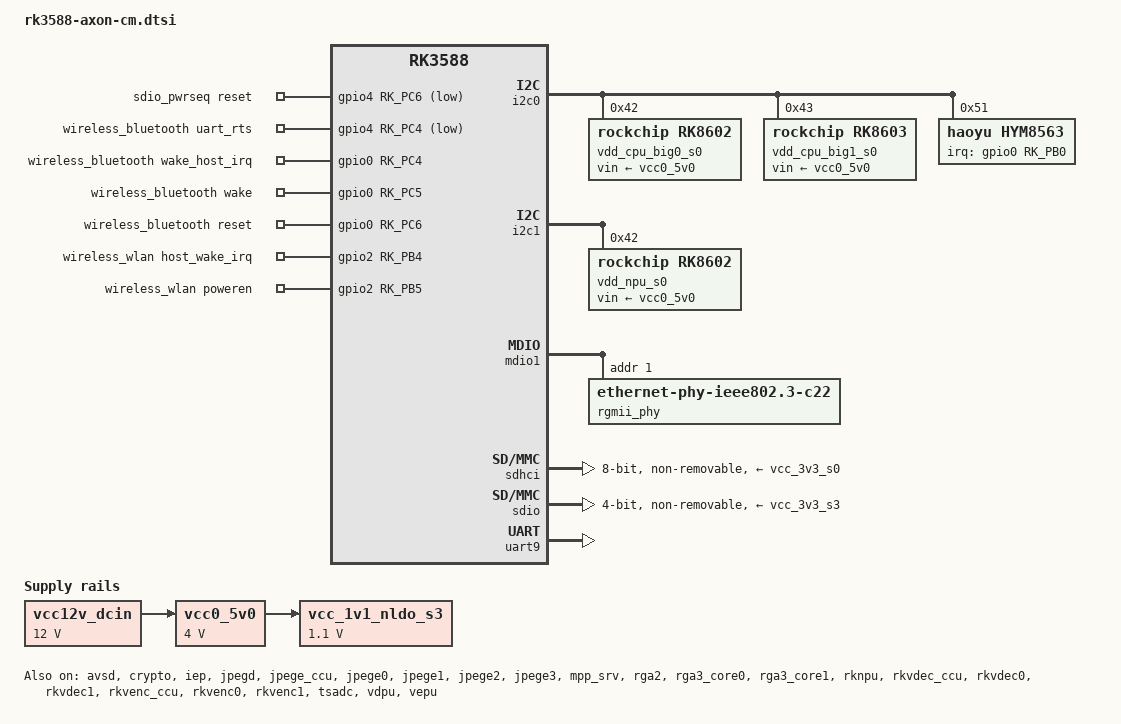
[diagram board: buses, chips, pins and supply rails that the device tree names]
// SPDX-License-Identifier: (GPL-2.0+ OR MIT)
/*
 * Copyright (C) 2026 Vicharak Computers LLP
 */

#include "rk3588.dtsi"
#include "rk3588-axon-cm-rk806-single.dtsi"
#include <dt-bindings/pinctrl/rockchip.h>

/ {
	compatible = "vicharak,rk3588-axon-cm", "rockchip,rk3588";

	aliases {
		mmc1 = &sdhci;
		mmc2 = &sdio;
	};

	sdio_pwrseq: sdio-pwrseq {
		compatible = "mmc-pwrseq-simple";
		clocks = <&hym8563>;
		clock-names = "ext_clock";
		pinctrl-names = "default";
		pinctrl-0 = <&sdio_reset_wifi>;
		reset-gpios = <&gpio4 RK_PC6 GPIO_ACTIVE_LOW>;
		status = "okay";
	};

	vcc12v_dcin: vcc12v-dcin-regulator {
		compatible = "regulator-fixed";
		regulator-name = "vcc12v_dcin";
		regulator-always-on;
		regulator-boot-on;
		regulator-min-microvolt = <12000000>;
		regulator-max-microvolt = <12000000>;
	};

	vcc0_5v0: vcc5v0_sys: vcc0-5v0-regulator {
		compatible = "regulator-fixed";
		regulator-name = "vcc0_5v0";
		regulator-always-on;
		regulator-boot-on;
		regulator-min-microvolt = <4000000>;
		regulator-max-microvolt = <4000000>;
		vin-supply = <&vcc12v_dcin>;
	};

	vcc_1v1_nldo_s3: vcc-1v1-nldo-s3-regulator {
		compatible = "regulator-fixed";
		regulator-name = "vcc_1v1_nldo_s3";
		regulator-always-on;
		regulator-boot-on;
		regulator-min-microvolt = <1100000>;
		regulator-max-microvolt = <1100000>;
		vin-supply = <&vcc0_5v0>;
	};

	wireless_bluetooth: wireless-bluetooth {
		compatible = "bluetooth-platdata";
		clocks = <&hym8563>;
		clock-names = "ext_clock";
		uart_rts_gpios = <&gpio4 RK_PC4 GPIO_ACTIVE_LOW>;
		pinctrl-names = "default", "rts_gpio";
		pinctrl-0 = <&uart9m0_rtsn>, <&bt_reset_gpio>, <&bt_wake_gpio>,
					<&bt_irq_gpio>;
		pinctrl-1 = <&uart9_gpios>;
		BT,wake_host_irq = <&gpio0 RK_PC4 GPIO_ACTIVE_HIGH>;
		BT,wake_gpio     = <&gpio0 RK_PC5 GPIO_ACTIVE_HIGH>;
		BT,reset_gpio    = <&gpio0 RK_PC6 GPIO_ACTIVE_HIGH>;
		status = "okay";
	};

	wireless_wlan: wireless-wlan {
		compatible = "wlan-platdata";
		wifi_chip_type = "rtl8852bs";
		pinctrl-names = "default";
		pinctrl-0 = <&wifi_host_wake_irq>, <&wifi_poweren_gpio>;
		WIFI,host_wake_irq = <&gpio2 RK_PB4 GPIO_ACTIVE_HIGH>;
		WIFI,poweren_gpio = <&gpio2 RK_PB5 GPIO_ACTIVE_HIGH>;
		status = "okay";
	};
};

&av1d_mmu {
	status = "okay";
};

&avsd {
	status = "okay";
};

&cpu_b0 {
	cpu-supply = <&vdd_cpu_big0_s0>;
	mem-supply = <&vdd_cpu_big0_mem_s0>;
};

&cpu_b1 {
	cpu-supply = <&vdd_cpu_big0_s0>;
	mem-supply = <&vdd_cpu_big0_mem_s0>;
};

&cpu_b2 {
	cpu-supply = <&vdd_cpu_big1_s0>;
	mem-supply = <&vdd_cpu_big1_mem_s0>;
};

&cpu_b3 {
	cpu-supply = <&vdd_cpu_big1_s0>;
	mem-supply = <&vdd_cpu_big1_mem_s0>;
};

&cpu_l0 {
	cpu-supply = <&vdd_cpu_lit_s0>;
	mem-supply = <&vdd_cpu_lit_mem_s0>;
};

&cpu_l1 {
	cpu-supply = <&vdd_cpu_lit_s0>;
	mem-supply = <&vdd_cpu_lit_mem_s0>;
};

&cpu_l2 {
	cpu-supply = <&vdd_cpu_lit_s0>;
	mem-supply = <&vdd_cpu_lit_mem_s0>;
};

&cpu_l3 {
	cpu-supply = <&vdd_cpu_lit_s0>;
	mem-supply = <&vdd_cpu_lit_mem_s0>;
};

&crypto {
	status = "okay";
};

&i2c0 {
	pinctrl-names = "default";
	pinctrl-0 = <&i2c0m2_xfer>;
	status = "okay";
	#address-cells = <1>;
	#size-cells = <0>;

	vdd_cpu_big0_s0: vdd_cpu_big0_mem_s0: regulator@42 {
		compatible = "rockchip,rk8602";
		reg = <0x42>;
		regulator-always-on;
		regulator-boot-on;
		regulator-compatible = "rk860x-reg";
		regulator-max-microvolt = <1050000>;
		regulator-min-microvolt = <550000>;
		regulator-name = "vdd_cpu_big0_s0";
		regulator-ramp-delay = <2300>;
		rockchip,suspend-voltage-selector = <1>;
		vin-supply = <&vcc0_5v0>;

		regulator-state-mem {
			regulator-off-in-suspend;
		};
	};

    vdd_cpu_big1_s0: vdd_cpu_big1_mem_s0: regulator@43 {
		compatible = "rockchip,rk8603", "rockchip,rk8602";
		reg = <0x43>;
		regulator-always-on;
		regulator-boot-on;
		regulator-compatible = "rk860x-reg";
		regulator-max-microvolt = <1050000>;
		regulator-min-microvolt = <550000>;
		regulator-name = "vdd_cpu_big1_s0";
		regulator-ramp-delay = <2300>;
		rockchip,suspend-voltage-selector = <1>;
		vin-supply = <&vcc0_5v0>;

		regulator-state-mem {
			regulator-off-in-suspend;
		};
	};

	hym8563: rtc@51 {
		compatible = "haoyu,hym8563";
		reg = <0x51>;
		#clock-cells = <0>;
		clock-output-names = "hym8563";
		interrupt-parent = <&gpio0>;
		interrupts = <RK_PB0 IRQ_TYPE_LEVEL_LOW>;
		pinctrl-names = "default";
		pinctrl-0 = <&rtc_int>;
		wakeup-source;
		status = "okay";
	};
};

&i2c1 {
	status = "okay";
	pinctrl-names = "default";
	pinctrl-0 = <&i2c1m2_xfer>;
	#address-cells = <1>;
	#size-cells = <0>;

	vdd_npu_s0: vdd_npu_mem_s0: regulator@42 {
		compatible = "rockchip,rk8602";
		reg = <0x42>;
		regulator-always-on;
		regulator-boot-on;
		regulator-compatible = "rk860x-reg";
		regulator-max-microvolt = <950000>;
		regulator-min-microvolt = <550000>;
		regulator-name = "vdd_npu_s0";
		regulator-ramp-delay = <2300>;
		rockchip,suspend-voltage-selector = <1>;
		vin-supply = <&vcc0_5v0>;

		regulator-state-mem {
			regulator-off-in-suspend;
		};
	};
};

&iep {
	status = "okay";
};

&iep_mmu {
	status = "okay";
};

&jpegd {
	status = "okay";
};

&jpegd_mmu {
	status = "okay";
};

&jpege_ccu {
	status = "okay";
};

&jpege0 {
	status = "okay";
};

&jpege0_mmu {
	status = "okay";
};

&jpege1 {
	status = "okay";
};

&jpege1_mmu {
	status = "okay";
};

&jpege2 {
	status = "okay";
};

&jpege2_mmu {
	status = "okay";
};

&jpege3 {
	status = "okay";
};

&jpege3_mmu {
	status = "okay";
};

&mdio1 {
	rgmii_phy: phy@1 {
		compatible = "ethernet-phy-ieee802.3-c22";
		reg = <0x1>;
	};
};

&mpp_srv {
	status = "okay";
};

&pinctrl {
	hym8563 {
		rtc_int: rtc-int {
			rockchip,pins =
				<0 RK_PB0 RK_FUNC_GPIO &pcfg_pull_none>;
		};
	};

	wireless-bluetooth {
		uart9_gpios: uart9-gpios {
			rockchip,pins =
				<4 RK_PC4 RK_FUNC_GPIO &pcfg_pull_none>;
		};

		bt_reset_gpio: bt-reset-gpio {
			rockchip,pins =
				<0 RK_PC6 RK_FUNC_GPIO &pcfg_pull_none>;
		};

		bt_wake_gpio: bt-wake-gpio {
			rockchip,pins =
				<0 RK_PC5 RK_FUNC_GPIO &pcfg_pull_none>;
		};

		bt_irq_gpio: bt-irq-gpio {
			rockchip,pins =
				<0 RK_PC4 RK_FUNC_GPIO &pcfg_pull_none>;
		};
	};

	wireless-wlan {
		sdio_reset_wifi: sdio-reset-wifi {
			rockchip,pins =
				<4 RK_PC6 RK_FUNC_GPIO &pcfg_pull_none>;
		};

		wifi_host_wake_irq: wifi-host-wake-irq {
			rockchip,pins =
				<2 RK_PB4 RK_FUNC_GPIO &pcfg_pull_none>;
		};

		wifi_poweren_gpio: wifi-poweren-gpio {
			rockchip,pins =
				<2 RK_PB5 RK_FUNC_GPIO &pcfg_pull_none>;
		};
	};
};

&rga2 {
	status = "okay";
};

&rga3_core0 {
	status = "okay";
};

&rga3_0_mmu {
	status = "okay";
};

&rga3_core1 {
	status = "okay";
};

&rga3_1_mmu {
	status = "okay";
};

&rknpu {
	rknpu-supply = <&vdd_npu_s0>;
	mem-supply = <&vdd_npu_mem_s0>;
	status = "okay";
};

&rknpu_mmu {
	status = "okay";
};

&rkvdec_ccu {
	status = "okay";
};

&rkvdec0 {
	status = "okay";
};

&rkvdec0_mmu {
	status = "okay";
};

&rkvdec1 {
	status = "okay";
};

&rkvdec1_mmu {
	status = "okay";
};

&rkvenc_ccu {
	status = "okay";
};

&rkvenc0 {
	venc-supply = <&vdd_vdenc_s0>;
	mem-supply = <&vdd_vdenc_mem_s0>;
	status = "okay";
};

&rkvenc0_mmu {
	status = "okay";
};

&rkvenc1 {
	venc-supply = <&vdd_vdenc_s0>;
	mem-supply = <&vdd_vdenc_mem_s0>;
	status = "okay";
};

&rkvenc1_mmu {
	status = "okay";
};

&sdhci {
	bus-width = <8>;
	full-pwr-cycle-in-suspend;
	max-frequency = <200000000>;
	mmc-hs400-1_8v;
	mmc-hs400-enhanced-strobe;
	no-sd;
	no-sdio;
	non-removable;
	vmmc-supply = <&vcc_3v3_s0>;
	vqmmc-supply = <&vcc_1v8_s3>;
	status = "okay";
};


&sdio {
	max-frequency = <150000000>;
	no-sd;
	no-mmc;
	bus-width = <4>;
	disable-wp;
	cap-sd-highspeed;
	cap-sdio-irq;
	keep-power-in-suspend;
	mmc-pwrseq = <&sdio_pwrseq>;
	non-removable;
	pinctrl-names = "default";
	pinctrl-0 = <&sdiom0_pins>;
	vmmc-supply = <&vcc_3v3_s3>;
	vqmmc-supply = <&vcc_1v8_s3>;
	status = "okay";
};

&tsadc {
	status = "okay";
};

&uart9 {
	pinctrl-names = "default";
	pinctrl-0 = <&uart9m0_xfer &uart9m0_ctsn>;
	status = "okay";
};

&vdpu {
	status = "okay";
};

&vdpu_mmu {
	status = "okay";
};

&vepu {
	status = "okay";
};
